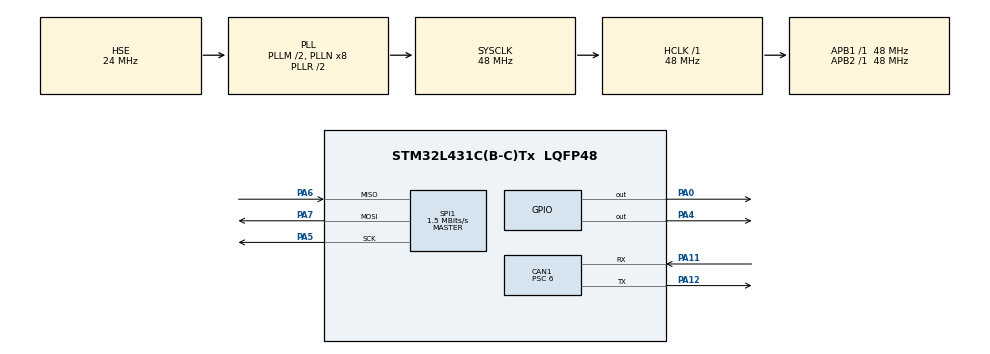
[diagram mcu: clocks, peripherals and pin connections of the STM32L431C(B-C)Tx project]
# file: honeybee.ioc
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CAN1.BS1=CAN_BS1_13TQ
CAN1.BS2=CAN_BS2_2TQ
CAN1.CalculateBaudRate=500000
CAN1.CalculateTimeBit=2000
CAN1.CalculateTimeQuantum=125.0
CAN1.Prescaler=6
Mcu.Family=STM32L4
Mcu.Name=STM32L431C(B-C)Tx
Mcu.Package=LQFP48
NVIC.PriorityGroup=NVIC_PRIORITYGROUP_4
PA0.Signal=GPIO_Output
PA11.Mode=CAN_Activate
PA11.Signal=CAN1_RX
PA12.Mode=CAN_Activate
PA12.Signal=CAN1_TX
PA13\ (JTMS-SWDIO).Mode=Trace_Asynchronous_SW
PA13\ (JTMS-SWDIO).Signal=SYS_JTMS-SWDIO
PA14\ (JTCK-SWCLK).Mode=Trace_Asynchronous_SW
PA14\ (JTCK-SWCLK).Signal=SYS_JTCK-SWCLK
PA4.Signal=GPIO_Output
PA5.Mode=Full_Duplex_Master
PA5.Signal=SPI1_SCK
PA6.Mode=Full_Duplex_Master
PA6.Signal=SPI1_MISO
PA7.Mode=Full_Duplex_Master
PA7.Signal=SPI1_MOSI
PB3\ (JTDO-TRACESWO).Mode=Trace_Asynchronous_SW
PB3\ (JTDO-TRACESWO).Signal=SYS_JTDO-SWO
PH0-OSC_IN\ (PH0).Mode=HSE-External-Oscillator
PH0-OSC_IN\ (PH0).Signal=RCC_OSC_IN
PH1-OSC_OUT\ (PH1).Mode=HSE-External-Oscillator
PH1-OSC_OUT\ (PH1).Signal=RCC_OSC_OUT
ProjectManager.HeapSize=0x200
ProjectManager.StackSize=0x400
ProjectManager.TargetToolchain=STM32CubeIDE
RCC.ADCFreq_Value=48000000
RCC.AHBFreq_Value=48000000
RCC.APB1Freq_Value=48000000
RCC.APB1TimFreq_Value=48000000
RCC.APB2Freq_Value=48000000
RCC.APB2TimFreq_Value=48000000
RCC.CortexFreq_Value=48000000
RCC.HCLKFreq_Value=48000000
RCC.HSE_VALUE=24000000
RCC.HSI48_VALUE=48000000
RCC.HSI_VALUE=16000000
RCC.LSE_VALUE=32768
RCC.MSIClockRange=RCC_MSIRANGE_11
RCC.MSI_VALUE=48000000
RCC.PLLM=2
RCC.PLLSourceVirtual=RCC_PLLSOURCE_HSE
RCC.SYSCLKFreq_VALUE=48000000
RCC.SYSCLKSource=RCC_SYSCLKSOURCE_PLLCLK
RCC.VCOOutputFreq_Value=96000000
SPI1.BaudRatePrescaler=SPI_BAUDRATEPRESCALER_32
SPI1.CLKPhase=SPI_PHASE_2EDGE
SPI1.CalculateBaudRate=1.5 MBits/s
SPI1.DataSize=SPI_DATASIZE_8BIT
SPI1.Direction=SPI_DIRECTION_2LINES
SPI1.Mode=SPI_MODE_MASTER
SPI1.VirtualType=VM_MASTER
board=custom

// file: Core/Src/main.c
/* USER CODE BEGIN Header */
/**
  ******************************************************************************
  * @file           : main.c
  * @brief          : Main program body
  ******************************************************************************
  * @attention
  *
  * Copyright (c) 2023 STMicroelectronics.
  * All rights reserved.
  *
  * This software is licensed under terms that can be found in the LICENSE file
  * in the root directory of this software component.
  * If no LICENSE file comes with this software, it is provided AS-IS.
  *
  ******************************************************************************
  */
/* USER CODE END Header */
#include "main.h"

/* USER CODE BEGIN Includes */
#include "MLX90363.h"
#include "string.h"
/* USER CODE END Includes */

/* USER CODE BEGIN PD */
#define CAN_ANGLE_ID 0x322;
/* USER CODE END PD */

CAN_HandleTypeDef hcan1;

SPI_HandleTypeDef hspi1;

/* USER CODE BEGIN PV */

// CAN stuff below:
uint32_t txMailbox; // after calling the addTxMessage function, it will write the mailbox it used to transmit the message on this variable.
CAN_TxHeaderTypeDef txHeader; // transmission header, basically stores relevant stuff for the CAN frame.
// See the CAN init function for other stuff like filter setup + tx setup.
/* USER CODE END PV */

void SystemClock_Config(void);
static void MX_GPIO_Init(void);
static void MX_SPI1_Init(void);
static void MX_CAN1_Init(void);

/* USER CODE BEGIN 0 */
int _write(int file, char *ptr, int len)
{
  /* Implement your write code here, this is used by puts and printf for example */
  int i=0;
  for(i=0 ; i<len ; i++)
    ITM_SendChar((*ptr++));
  return len;
}
/* USER CODE END 0 */

int main(void)
{
  /* USER CODE BEGIN 1 */

	uint8_t rollCounter = 0;
	int count = 0;
	float angle = 0;
	MLX90363 dev;
	uint8_t data[2];
	uint8_t evilFlag = 0;
  /* USER CODE END 1 */

  /* MCU Configuration--------------------------------------------------------*/

  /* Reset of all peripherals, Initializes the Flash interface and the Systick. */
  HAL_Init();

  /* Configure the system clock */
  SystemClock_Config();

  /* Initialize all configured peripherals */
  MX_GPIO_Init();
  MX_SPI1_Init();
  MX_CAN1_Init();
  /* USER CODE BEGIN 2 */
  MLX90363_init(&hspi1, &dev);
  uint32_t error;
  HAL_GPIO_WritePin(GPIOA, GPIO_PIN_4, GPIO_PIN_SET);
  uint16_t angle_lsb;
  /* USER CODE END 2 */

  /* Infinite loop */
  /* USER CODE BEGIN WHILE */
  while (1)
  {

//	  MLX90363_GET1(&dev, Alpha, HAL_MAX_DELAY);
//	  HAL_Delay(1);
//	  MLX90363_NOP(&dev, 0xAA);

	  MLX90363_GET1(&dev, Alpha, HAL_MAX_DELAY);
	  HAL_Delay(1);
	  MLX90363_NOP(&dev, 0xAAAA);

	  angle_lsb = (dev.rxBuffer[1] & 0x3F) << 8;
      angle_lsb += dev.rxBuffer[0];

      memcpy(data, &angle_lsb, 2);
	  //angle = MLX90363_getAngle(&dev);

	  //memcpy(data, &angle, 4);

	  if(HAL_CAN_AddTxMessage(&hcan1, &txHeader, data, &txMailbox) != HAL_OK){
		  error = hcan1.ErrorCode;
		  evilFlag = 1;
		  Error_Handler();
	  }
	  uint32_t myMailbox = txMailbox;
	  HAL_GPIO_WritePin(GPIOA, GPIO_PIN_0, 1);

	  HAL_Delay(10);
    /* USER CODE END WHILE */

  }
}

void SystemClock_Config(void)
{
  RCC_OscInitTypeDef RCC_OscInitStruct = {0};
  RCC_ClkInitTypeDef RCC_ClkInitStruct = {0};

  /** Configure the main internal regulator output voltage
  */
  if (HAL_PWREx_ControlVoltageScaling(PWR_REGULATOR_VOLTAGE_SCALE1) != HAL_OK)
  {
    Error_Handler();
  }

  /** Initializes the RCC Oscillators according to the specified parameters
  * in the RCC_OscInitTypeDef structure.
  */
  RCC_OscInitStruct.OscillatorType = RCC_OSCILLATORTYPE_HSE;
  RCC_OscInitStruct.HSEState = RCC_HSE_ON;
  RCC_OscInitStruct.PLL.PLLState = RCC_PLL_ON;
  RCC_OscInitStruct.PLL.PLLSource = RCC_PLLSOURCE_HSE;
  RCC_OscInitStruct.PLL.PLLM = 2;
  RCC_OscInitStruct.PLL.PLLN = 8;
  RCC_OscInitStruct.PLL.PLLP = RCC_PLLP_DIV7;
  RCC_OscInitStruct.PLL.PLLQ = RCC_PLLQ_DIV2;
  RCC_OscInitStruct.PLL.PLLR = RCC_PLLR_DIV2;
  if (HAL_RCC_OscConfig(&RCC_OscInitStruct) != HAL_OK)
  {
    Error_Handler();
  }

  /** Initializes the CPU, AHB and APB buses clocks
  */
  RCC_ClkInitStruct.ClockType = RCC_CLOCKTYPE_HCLK|RCC_CLOCKTYPE_SYSCLK
                              |RCC_CLOCKTYPE_PCLK1|RCC_CLOCKTYPE_PCLK2;
  RCC_ClkInitStruct.SYSCLKSource = RCC_SYSCLKSOURCE_PLLCLK;
  RCC_ClkInitStruct.AHBCLKDivider = RCC_SYSCLK_DIV1;
  RCC_ClkInitStruct.APB1CLKDivider = RCC_HCLK_DIV1;
  RCC_ClkInitStruct.APB2CLKDivider = RCC_HCLK_DIV1;

  if (HAL_RCC_ClockConfig(&RCC_ClkInitStruct, FLASH_LATENCY_2) != HAL_OK)
  {
    Error_Handler();
  }
}

static void MX_CAN1_Init(void)
{

  hcan1.Instance = CAN1;
  hcan1.Init.Prescaler = 6;
  hcan1.Init.Mode = CAN_MODE_NORMAL;
  hcan1.Init.SyncJumpWidth = CAN_SJW_1TQ;
  hcan1.Init.TimeSeg1 = CAN_BS1_13TQ;
  hcan1.Init.TimeSeg2 = CAN_BS2_2TQ;
  hcan1.Init.TimeTriggeredMode = DISABLE;
  hcan1.Init.AutoBusOff = DISABLE;
  hcan1.Init.AutoWakeUp = DISABLE;
  hcan1.Init.AutoRetransmission = DISABLE;
  hcan1.Init.ReceiveFifoLocked = DISABLE;
  hcan1.Init.TransmitFifoPriority = DISABLE;
  if (HAL_CAN_Init(&hcan1) != HAL_OK)
  {
    Error_Handler();
  }
  /* USER CODE BEGIN CAN1_Init 2 */

  // start the bus
  if (HAL_CAN_Start(&hcan1) != HAL_OK)
  {
    Error_Handler();
  }

  // filter setup (idk if i have to do this, since this device is only TXing.

  // tx setup
  txHeader.ExtId = CAN_ANGLE_ID;
  txHeader.IDE	 = CAN_ID_EXT;	 // using ext id
  txHeader.RTR	 = CAN_RTR_DATA; // not a remote frame
  txHeader.DLC 	 = 2;
  txHeader.TransmitGlobalTime = DISABLE;
  /* USER CODE END CAN1_Init 2 */

}

static void MX_SPI1_Init(void)
{

  /* SPI1 parameter configuration*/
  hspi1.Instance = SPI1;
  hspi1.Init.Mode = SPI_MODE_MASTER;
  hspi1.Init.Direction = SPI_DIRECTION_2LINES;
  hspi1.Init.DataSize = SPI_DATASIZE_8BIT;
  hspi1.Init.CLKPolarity = SPI_POLARITY_LOW;
  hspi1.Init.CLKPhase = SPI_PHASE_2EDGE;
  hspi1.Init.NSS = SPI_NSS_SOFT;
  hspi1.Init.BaudRatePrescaler = SPI_BAUDRATEPRESCALER_32;
  hspi1.Init.FirstBit = SPI_FIRSTBIT_MSB;
  hspi1.Init.TIMode = SPI_TIMODE_DISABLE;
  hspi1.Init.CRCCalculation = SPI_CRCCALCULATION_DISABLE;
  hspi1.Init.CRCPolynomial = 7;
  hspi1.Init.CRCLength = SPI_CRC_LENGTH_DATASIZE;
  hspi1.Init.NSSPMode = SPI_NSS_PULSE_DISABLE;
  if (HAL_SPI_Init(&hspi1) != HAL_OK)
  {
    Error_Handler();
  }

}

static void MX_GPIO_Init(void)
{
  GPIO_InitTypeDef GPIO_InitStruct = {0};

  /* GPIO Ports Clock Enable */
  __HAL_RCC_GPIOH_CLK_ENABLE();
  __HAL_RCC_GPIOA_CLK_ENABLE();
  __HAL_RCC_GPIOB_CLK_ENABLE();

  /*Configure GPIO pin Output Level */
  HAL_GPIO_WritePin(GPIOA, GPIO_PIN_0|GPIO_PIN_4, GPIO_PIN_RESET);

  /*Configure GPIO pins : PA0 PA4 */
  GPIO_InitStruct.Pin = GPIO_PIN_0|GPIO_PIN_4;
  GPIO_InitStruct.Mode = GPIO_MODE_OUTPUT_PP;
  GPIO_InitStruct.Pull = GPIO_NOPULL;
  GPIO_InitStruct.Speed = GPIO_SPEED_FREQ_LOW;
  HAL_GPIO_Init(GPIOA, &GPIO_InitStruct);

}

void Error_Handler(void)
{
  /* USER CODE BEGIN Error_Handler_Debug */
  /* User can add his own implementation to report the HAL error return state */
  __disable_irq();
  HAL_GPIO_WritePin(GPIOA, GPIO_PIN_0, 0);
  //HAL_GPIO_WritePin(GPIOA, GPIO_PIN_1, 1);
  while (1)
  {
  }
  /* USER CODE END Error_Handler_Debug */
}
